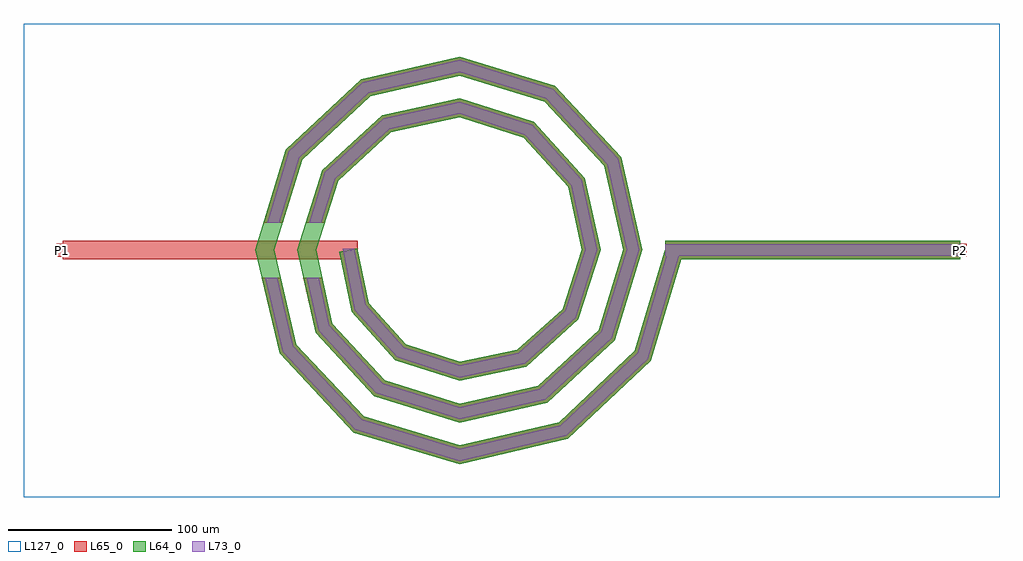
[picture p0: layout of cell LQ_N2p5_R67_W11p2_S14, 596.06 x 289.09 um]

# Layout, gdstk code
import gdstk
lib = gdstk.Library(unit=1e-6, precision=1e-09)
def R(c, l, rs):  # rectangles x0, y0, x1, y1
    for r in rs: c.add(gdstk.rectangle(r[:2], r[2:], *l))
def P(c, l, *ps):  # polygons
    for p in ps: c.add(gdstk.Polygon(p, *l))
L64_0 = (64, 0)
L65_0 = (65, 0)
L73_0 = (73, 0)
L127_0 = (127, 0)

lq_n2p5_r67_w11p2_s14 = lib.new_cell('LQ_N2p5_R67_W11p2_S14')
R(lq_n2p5_r67_w11p2_s14, L64_0, [(125.894,-5.6,305.894,5.6)])
P(lq_n2p5_r67_w11p2_s14, L64_0, [(-55.352,-32.337),(-32.838,-57.514),(0.31,-68.352),(35.498,-60.883),(63.019,-36.046),(74.723,0.285),(66.412,38.664),(39.251,68.526),(0.264,81.095),(-41.833,71.94),(-74.035,42.453),(-87.466,0.246),(-77.467,-45.004),(-45.653,-79.544),(0.231,-93.838),(48.176,-82.993),(85.056,-48.852),(100.21,0.217),(88.518,51.351),(52.049,90.567),(0.204,106.582),(-54.527,94.042),(-96.08,55.244),(-112.954,0.193),(-99.565,-57.704),(-58.439,-101.593),(0.184,-119.326),(60.881,-105.089),(107.107,-61.633),(126.131,1.613),(136.856,-1.613),(116.967,-67.736),(66.364,-115.307),(0.184,-130.916),(-64.558,-111.444),(-109.793,-63.169),(-124.544,0.193),(-105.92,61.38),(-59.974,104.279),(0.204,118.171),(58.204,100.395),(98.766,56.777),(111.798,0.217),(94.87,-55.028),(53.579,-93.254),(0.231,-105.425),(-51.855,-89.344),(-87.742,-50.38),(-99.052,0.246),(-83.816,48.682),(-47.178,82.231),(0.264,92.679),(45.512,78.287),(76.722,43.975),(86.306,0.285),(72.757,-42.344),(40.768,-71.214),(0.31,-79.933),(-39.18,-67.224),(-65.708,-37.557),(-73.253,-1.136),(-62.286,1.136)])
R(lq_n2p5_r67_w11p2_s14, L65_0, [(-242.17,-5.6,-62.17,5.6), (125.894,-5.6,305.894,5.6), (-246.17,-4,-238.17,4), (301.894,-4,309.894,4)])
P(lq_n2p5_r67_w11p2_s14, L65_0, [(-99.566,-57.704),(-58.439,-101.593),(0.184,-119.326),(60.881,-105.089),(107.107,-61.633),(126.131,1.613),(136.856,-1.613),(116.967,-67.736),(66.364,-115.307),(0.184,-130.916),(-64.558,-111.444),(-109.793,-63.169),(-120.588,-16.8),(-109.088,-16.8)],
  [(-77.467,-45.004),(-45.653,-79.545),(0.231,-93.838),(48.177,-82.993),(85.056,-48.852),(100.21,0.217),(88.518,51.351),(52.049,90.567),(0.204,106.582),(-54.527,94.042),(-96.08,55.244),(-107.782,16.8),(-119.489,16.8),(-105.92,61.38),(-59.974,104.279),(0.204,118.171),(58.204,100.395),(98.766,56.777),(111.798,0.217),(94.87,-55.028),(53.579,-93.254),(0.231,-105.425),(-51.855,-89.344),(-87.742,-50.38),(-95.244,-16.8),(-83.768,-16.8)],
  [(-32.838,-57.515),(0.31,-68.352),(35.498,-60.883),(63.019,-36.046),(74.723,0.285),(66.412,38.664),(39.251,68.526),(0.264,81.095),(-41.833,71.94),(-74.035,42.453),(-82.104,16.8),(-93.845,16.8),(-83.816,48.682),(-47.178,82.231),(0.264,92.679),(45.512,78.287),(76.722,43.975),(86.306,0.285),(72.757,-42.344),(40.768,-71.214),(0.31,-79.933),(-39.18,-67.224),(-65.708,-37.557),(-73.253,-1.136),(-62.286,1.136),(-55.352,-32.337)])
R(lq_n2p5_r67_w11p2_s14, L73_0, [(125.894,-3.6,305.894,3.6)])
P(lq_n2p5_r67_w11p2_s14, L73_0, [(-101.392,-58.68),(-59.532,-103.352),(0.118,-121.396),(61.86,-106.913),(108.868,-62.723),(128.046,1.037),(134.941,-1.037),(115.207,-66.646),(65.385,-113.482),(0.118,-128.847),(-63.465,-109.685),(-107.966,-62.193),(-118.534,-16.8),(-111.142,-16.8)],
  [(-79.302,-45.964),(-46.761,-81.294),(0.148,-95.907),(49.141,-84.825),(86.808,-49.955),(102.279,0.139),(90.348,52.32),(53.148,92.322),(0.131,108.651),(-55.499,95.87),(-97.837,56.34),(-109.872,16.8),(-117.398,16.8),(-104.163,60.285),(-59.001,102.451),(0.131,116.101),(57.105,98.64),(96.936,55.808),(109.729,0.139),(93.117,-53.925),(52.615,-91.421),(0.148,-103.356),(-50.747,-87.594),(-85.907,-49.42),(-93.195,-16.8),(-85.817,-16.8)],
  [(-33.971,-59.248),(0.199,-70.42),(36.439,-62.728),(64.758,-37.171),(76.791,0.183),(68.253,39.612),(40.369,70.269),(0.17,83.163),(-42.787,73.778),(-75.781,43.565),(-84.201,16.8),(-91.749,16.8),(-82.069,47.57),(-46.224,80.394),(0.17,90.611),(44.394,76.544),(74.881,43.026),(84.238,0.183),(71.018,-41.22),(39.827,-69.369),(0.199,-77.865),(-38.048,-65.491),(-63.859,-36.625),(-71.295,0.73),(-64.245,0.73),(-57.201,-33.269)])
R(lq_n2p5_r67_w11p2_s14, L127_0, [(-266.17,-150.916,329.894,138.171)])
lq_n2p5_r67_w11p2_s14.add(gdstk.Label('P2', (305.894,0), layer=65, texttype=0))
lq_n2p5_r67_w11p2_s14.add(gdstk.Label('P1', (-242.17,0), layer=65, texttype=0))
lq_n2p5_r67_w11p2_s14.add(gdstk.Label('P2', (309.894,0), layer=145, texttype=0))
lq_n2p5_r67_w11p2_s14.add(gdstk.Label('P1', (-246.17,0), layer=145, texttype=0))

lib.write_gds('LQ_N2p5_R67_W11p2_S14.gds')
